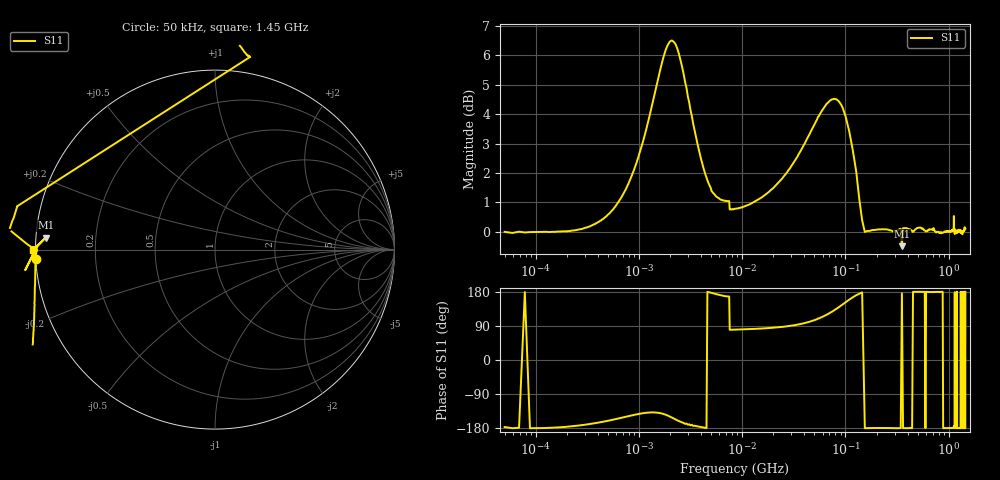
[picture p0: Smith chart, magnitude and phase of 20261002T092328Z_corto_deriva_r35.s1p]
! piloto_deriva / corto_deriva / r35
# HZ S RI R 50
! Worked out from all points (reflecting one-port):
!   501 points, 50 kHz to 1.45 GHz, reference 50 ohm
!   lowest |S11| = -0.5 dB at 352 MHz (marker M1), VSWR 35.67, Z = 1.4 + j1.78 ohm
!   phase of S11 starts at -177 deg and turns -3 deg over the sweep
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50000  -0.9985 -0.0545
183000  -1.001 -0.0523
363500  -1.004 -0.2247
658000  -1.014 -0.5108
1180000  -1.133 -0.978
1630000  -1.472 -1.211
1990000  -1.809 -1.079
2170000  -1.897 -0.9134
2440000  -1.901 -0.6438
3160000  -1.594 -0.213
4330000  -1.263 -0.0304
7300000  -1.102 0.2419
7750000  0.1935 1.075
8560000  0.1878 1.079
1.99e7  0.0997 1.182
3.16e7  -0.0352 1.311
4.69e7  -0.3226 1.453
6.76e7  -0.8592 1.418
7.93e7  -1.139 1.238
9.37e7  -1.355 0.9006
9.82e7  -1.383 0.7824
1e8  -1.392 0.7366
1.18e8  -1.331 0.3393
1.36e8  -1.134 0.1012
1.63e8  -1.004 -0.0046
3.52e8  -0.9431 0.0671
4.06e8  -1.012 -0.00191
1.45e9  -1.012 0.000484
